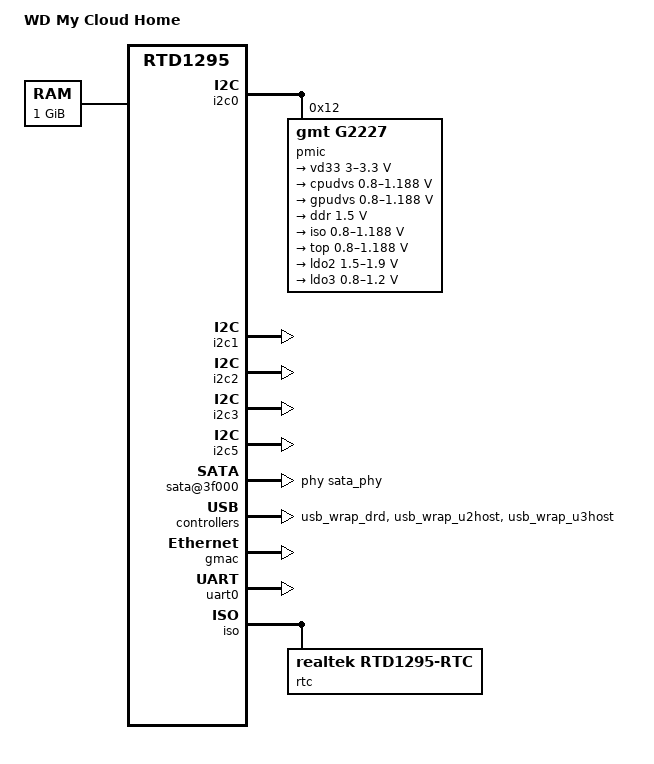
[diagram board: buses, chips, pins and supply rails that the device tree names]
// SPDX-License-Identifier: (GPL-2.0-or-later OR BSD-2-Clause)
/*
 * WD My Cloud Home device tree
 * Based on Realtek RTD1295 SoC
 *
 * Ported from kernel 4.9.330 to 6.18.2
 * Based on third-party Debian device tree from Russian forum
 * Optimized for Debian/Linux (not Android)
 */

/dts-v1/;

#include "rtd1295.dtsi"
#include <dt-bindings/reset/realtek,rtd1295.h>

/ {
	compatible = "wd,mycloud-home", "realtek,rtd1295";
	model = "WD My Cloud Home";

	/*
	 * NOTE: The third-party Debian tree this was derived from reports 1 GiB RAM.
	 * Do NOT assume 2 GiB unless confirmed on the target device.
	 *
	 * Also note: this SoC is ARM64, but the upstream RTD129x DTS uses
	 * #address-cells = <1> / #size-cells = <1> at the root (32-bit cells).
	 * That's fine as long as all addresses are below 4 GiB.
	 */
	memory@0 {
		device_type = "memory";
		reg = <0x0 0x40000000>;
	};

	aliases {
		serial0 = &uart0;
		serial1 = &uart1;
		serial2 = &uart2;
	};

	chosen {
		bootargs = "earlycon=uart8250,mmio32,0x98007800 console=ttyS0,115200 root=/dev/sda9 rootfstype=ext4 rootwait rw init=/bin/sh";
		stdout-path = "serial0:115200n8";
	};

	/* Reserved memory - clean version without vendor rsvmem-remap overlaps */
	reserved-memory {
		#address-cells = <1>;
		#size-cells = <1>;
		ranges;

		linux,cma {
			compatible = "shared-dma-pool";
			reusable;
			size = <0x02000000>;
			linux,cma-default;
		};

		/* ramoops for kernel crash log persistence */
		ramoops@22000000 {
			compatible = "ramoops";
			reg = <0x22000000 0x200000>;
			record-size = <0x4000>;
			console-size = <0x100000>;
			ftrace-size = <0x4000>;
		};
	};

	/* Note: ION memory management is simplified for Debian
	 * Original Debian version kept minimal ION config for compatibility
	 * Full ION nodes will be added if needed
	 */
};

&rbus {
	/*
	 * Vendor RTD129x interrupt mux.
	 *
	 * The vendor I2C binding uses two-cell interrupts (<bank line>) with
	 * interrupt-parent pointing at this mux. The mux itself is chained from
	 * two GIC SPIs (40 and 41) in the extracted DTS.
	 */
	mux_intc: interrupt-controller@1b000 {
		compatible = "Realtek,rtk-irq-mux";
		/* v18: enabled. The earlier "stuck ISO_ISR bit2" was a probe
		 * artifact - the register is a normal W1C event latch (bit0 =
		 * WRITE_DATA convention, see vendor rtk_iso.h), but every probe
		 * command itself generated uart traffic that re-latched the bit.
		 * The real storm cause was printk inside the mux handler feeding
		 * the console uart; the driver is silent now.
		 */
		status = "okay";
		interrupt-controller;
		#interrupt-cells = <2>;

		/* v15: full vendor contract for irq-rtd129x.c - two muxes:
		 * index 0 = MISC @ 0x1b000 (GIC SPI 40), index 1 = ISO @ 0x7000
		 * (GIC SPI 41). intr-status/intr-en are per-mux register offsets;
		 * without them the driver reads uninitialized stack values.
		 */
		Realtek,mux-nr = <2>;
		intr-status = <0x0c 0x00>;
		intr-en = <0x80 0x40>;

		interrupt-parent = <&gic>;
		interrupts = <GIC_SPI 40 IRQ_TYPE_LEVEL_HIGH>,
			     <GIC_SPI 41 IRQ_TYPE_LEVEL_HIGH>;

		/* register windows used by the vendor driver */
		reg = <0x1b000 0x100>, <0x7000 0x100>;
	};

	/*
	 * I2C buses (vendor binding: "realtek,rtk-i2c").
	 */
	i2c0: i2c@7d00 {
		compatible = "realtek,rtk-i2c";
		reg = <0x7d00 0x100>, <0x7000 0x100>;
		interrupt-parent = <&mux_intc>;
		interrupts = <1 8>;
		i2c-num = <0>;
		status = "okay";
		#address-cells = <1>;
		#size-cells = <0>;

		pmic@12 {
			compatible = "gmt,g2227";
			reg = <0x12>;
			status = "okay";

			regulators {
				compatible = "gmt,g2227-regulator";
				status = "okay";

				dc1 { regulator-boot-on; regulator-always-on; regulator-name = "vd33"; regulator-min-microvolt = <3000000>; regulator-max-microvolt = <3300000>; regulator-initial-mode = <1>; };
				dc2 { regulator-boot-on; regulator-always-on; regulator-name = "cpudvs"; regulator-min-microvolt = <800000>; regulator-max-microvolt = <1187500>; regulator-initial-mode = <0>; regulator-state-mem { regulator-off-in-suspend; }; };
				dc3 { regulator-boot-on; regulator-always-on; regulator-name = "gpudvs"; regulator-min-microvolt = <800000>; regulator-max-microvolt = <1187500>; regulator-initial-mode = <0>; regulator-ramp-delay = <625>; regulator-state-mem { regulator-off-in-suspend; }; };
				dc4 { regulator-boot-on; regulator-always-on; regulator-name = "ddr"; regulator-min-microvolt = <1500000>; regulator-max-microvolt = <1500000>; regulator-initial-mode = <0>; regulator-state-coldboot { regulator-off-in-suspend; }; };
				dc5 { regulator-boot-on; regulator-always-on; regulator-name = "iso"; regulator-min-microvolt = <800000>; regulator-max-microvolt = <1187500>; regulator-initial-mode = <0>; };
				dc6 { regulator-boot-on; regulator-always-on; regulator-name = "top"; regulator-min-microvolt = <800000>; regulator-max-microvolt = <1187500>; regulator-initial-mode = <0>; regulator-state-mem { regulator-off-in-suspend; }; };
				ldo2 { regulator-boot-on; regulator-always-on; regulator-name = "ldo2"; regulator-min-microvolt = <1500000>; regulator-max-microvolt = <1900000>; regulator-initial-mode = <0>; regulator-state-mem { regulator-off-in-suspend; }; };
				ldo3 { regulator-boot-on; regulator-always-on; regulator-name = "ldo3"; regulator-min-microvolt = <800000>; regulator-max-microvolt = <1200000>; regulator-initial-mode = <0>; regulator-state-mem { regulator-off-in-suspend; }; };
			};
		};
	};

	i2c1: i2c@7c00 {
		compatible = "realtek,rtk-i2c";
		reg = <0x7c00 0x100>, <0x7000 0x100>;
		interrupt-parent = <&mux_intc>;
		interrupts = <1 11>;
		i2c-num = <1>;
		status = "okay";
		#address-cells = <1>;
		#size-cells = <0>;
	};

	i2c2: i2c@1b700 {
		compatible = "realtek,rtk-i2c";
		reg = <0x1b700 0x100>, <0x1b00c 0x100>;
		interrupt-parent = <&mux_intc>;
		interrupts = <0 26>;
		i2c-num = <2>;
		status = "okay";
		#address-cells = <1>;
		#size-cells = <0>;
	};

	i2c3: i2c@1b900 {
		compatible = "realtek,rtk-i2c";
		reg = <0x1b900 0x100>, <0x1b00c 0x100>;
		interrupt-parent = <&mux_intc>;
		interrupts = <0 23>;
		i2c-num = <3>;
		status = "okay";
		#address-cells = <1>;
		#size-cells = <0>;
	};

	i2c4: i2c@1ba00 {
		compatible = "realtek,rtk-i2c";
		reg = <0x1ba00 0x100>, <0x1b00c 0x100>;
		interrupt-parent = <&mux_intc>;
		interrupts = <0 15>;
		i2c-num = <4>;
		status = "disabled";
		#address-cells = <1>;
		#size-cells = <0>;
	};

	i2c5: i2c@1bb00 {
		compatible = "realtek,rtk-i2c";
		reg = <0x1bb00 0x100>, <0x1b00c 0x100>;
		interrupt-parent = <&mux_intc>;
		interrupts = <0 14>;
		i2c-num = <5>;
		status = "okay";
		#address-cells = <1>;
		#size-cells = <0>;
	};

	/*
	 * SATA PHY + AHCI controller.
	 * PHY driver: drivers/phy/realtek/phy-rtk-sata.c (mainline)
	 * AHCI reg shrunk to 0xf00 to avoid overlap with PHY at 0x3ff00.
	 */
	sata_phy: sata-phy@3ff00 {
		compatible = "Realtek,rtk-sata-phy";
		reg = <0x3ff00 0x100>, <0x1a980 0x10>;
		#address-cells = <1>;
		#size-cells = <0>;
		#phy-cells = <1>;
		status = "okay";

		sata-phy@0 {
			reg = <0>;
			spread-spectrum = <0>;
		};
	};

	sata@3f000 {
		compatible = "generic-ahci";
		reg = <0x3f000 0xf00>;
		interrupts = <GIC_SPI 28 IRQ_TYPE_LEVEL_HIGH>;
		phys = <&sata_phy 0>;
		phy-names = "sata-phy";
		status = "okay";
	};

	/*
	 * GMAC — RTD1295 SoC-internal Gigabit Ethernet.
	 * Uses vendor platform driver r8169soc (compatible "Realtek,r8168").
	 *
	 * Two register ranges, both RBUS-relative:
	 *   0x16000  1K  — MAC registers        (absolute 0x98016000)
	 *   0x7000   1K  — ISO domain registers (absolute 0x98007000)
	 *
	 * The driver uses mmio_clkaddr (range 1) for clock-gate and reset
	 * control of the ETN block.  No RTD1295 clock driver exists in
	 * mainline 6.18, so clocks are declared as optional in r8169soc.c
	 * (hardware clocks remain enabled from the vendor bootloader at
	 * kexec time).
	 *
	 * output-mode = 0 → embedded PHY (RGMII internal).
	 * mac-version  = 0x2a → RTL8168H embedded MAC.
	 */
	/*
	 * v19: USB. RTD1295 has three dwc3 blocks; the WD My Cloud Home's
	 * rear USB-A port is served by the u2host block (vendor-enabled) and
	 * u3host (vendor-disabled but SS-wired). DRD (vendor: adb gadget) is
	 * left out. PHYs are the mainline realtek phy-rtk-usb2/usb3 drivers;
	 * their reg windows live inside the vendor dwc3 wrapper regions.
	 * Resets are the 9 lines the vendor usb-manager deasserts, as shared
	 * arrays so both controllers can list the common ones. clk_en_usb
	 * (CRT 0x0c bit 4) and the VBUS gpio (misc-gpio 19) are poked from
	 * the initramfs - no mainline clk/needed-gpio wiring yet.
	 */
	usb2phy_u2: usb-phy@13c14 {
		compatible = "realtek,rtd1295-usb2phy";
		reg = <0x13c14 0x4>, <0x31280 0x4>;
		#phy-cells = <0>;
	};

	usb2phy_u3: usb-phy@13e14 {
		compatible = "realtek,rtd1295-usb2phy";
		reg = <0x13e14 0x4>, <0x1f8280 0x4>;
		#phy-cells = <0>;
	};

	usb3phy_u3: usb-phy@13e10 {
		compatible = "realtek,rtd1295-usb3phy";
		reg = <0x13e10 0x4>;
		#phy-cells = <0>;
	};

	/* v42: on-die thermal sensor (scpu_wrapper block) */
	soc_thermal: thermal-sensor@1d150 {
		compatible = "realtek,rtd129x-thermal-sensor";
		reg = <0x1d150 0x20>;
		#thermal-sensor-cells = <0>;
	};

	usb2phy_drd: usb-phy@13214 {
		compatible = "realtek,rtd1295-usb2phy";
		reg = <0x13214 0x4>, <0x28280 0x4>;
		#phy-cells = <0>;
	};

	usb3phy_drd: usb-phy@13210 {
		compatible = "realtek,rtd1295-usb3phy";
		reg = <0x13210 0x4>;
		#phy-cells = <0>;
	};

	usb_wrap_drd: usb@13200 {
		/* v21: the DRD block drives the physical USB-A port on this box
		 * (vendor ran it as an adb gadget and role-switched in software;
		 * u3host is unwired). Run it as a plain host.
		 */
		compatible = "realtek,rtd1295-dwc3", "realtek,rtd-dwc3";
		reg = <0x13200 0x200>;
		#address-cells = <1>;
		#size-cells = <1>;
		ranges;

		usb_drd: usb@20000 {
			compatible = "snps,dwc3";
			reg = <0x20000 0x9000>;
			interrupts = <GIC_SPI 21 IRQ_TYPE_LEVEL_HIGH>;
			phys = <&usb2phy_drd>, <&usb3phy_drd>;
			phy-names = "usb2-phy", "usb3-phy";
			dr_mode = "host";
			snps,dis_u2_susphy_quirk;
			snps,dis_ss_park_mode;
			resets = <&reset1 RTD1295_RSTN_USB>,
				 <&reset1 RTD1295_RSTN_USB_PHY0>,
				 <&reset1 RTD1295_RSTN_USB3_PHY0_POW>,
				 <&reset1 RTD1295_RSTN_USB3_P0_MDIO>;
		};
	};

	usb_wrap_u2host: usb@13c00 {
		/* v20: mainline dwc3-rtk glue wrapper. The parent compatible
		 * "realtek,rtd-dwc3" also makes dwc3 core use the RTD globals
		 * offset 0x8100 instead of 0xc100 (the v39 -EBUSY failure).
		 */
		compatible = "realtek,rtd1295-dwc3", "realtek,rtd-dwc3";
		reg = <0x13c00 0x200>;
		#address-cells = <1>;
		#size-cells = <1>;
		ranges;

		usb_u2host: usb@29000 {
			compatible = "snps,dwc3";
			reg = <0x29000 0x9000>;
			interrupts = <GIC_SPI 21 IRQ_TYPE_LEVEL_HIGH>;
			phys = <&usb2phy_u2>;
			phy-names = "usb2-phy";
			dr_mode = "host";
			snps,dis_u2_susphy_quirk;
			resets = <&reset1 RTD1295_RSTN_USB>,
				 <&reset1 RTD1295_RSTN_USB_PHY0>,
				 <&reset1 RTD1295_RSTN_USB_PHY1>,
				 <&reset2 RTD1295_RSTN_USB_PHY2>,
				 <&reset2 RTD1295_RSTN_USB_PHY3>;
		};
	};

	usb_wrap_u3host: usb@13e00 {
		compatible = "realtek,rtd1295-dwc3", "realtek,rtd-dwc3";
		reg = <0x13e00 0x200>;
		#address-cells = <1>;
		#size-cells = <1>;
		ranges;

		usb_u3host: usb@1f0000 {
			compatible = "snps,dwc3";
			reg = <0x1f0000 0x9000>;
			interrupts = <GIC_SPI 21 IRQ_TYPE_LEVEL_HIGH>;
			phys = <&usb2phy_u3>, <&usb3phy_u3>;
			phy-names = "usb2-phy", "usb3-phy";
			dr_mode = "host";
			snps,dis_u2_susphy_quirk;
			snps,dis_ss_park_mode;
			resets = <&reset1 RTD1295_RSTN_USB>,
				 <&reset1 RTD1295_RSTN_USB3_PHY0_POW>,
				 <&reset1 RTD1295_RSTN_USB3_P0_MDIO>,
				 <&reset2 4>,
				 <&reset2 RTD1295_RSTN_USB3_P1_MDIO>;
		};
	};

	gmac: ethernet@16000 {
		compatible = "Realtek,r8168";
		reg = <0x16000 0x1000>, <0x7000 0x1000>;
		interrupt-parent = <&gic>;
		interrupts = <GIC_SPI 22 IRQ_TYPE_LEVEL_HIGH>;
		resets = <&iso_reset RTD1295_ISO_RSTN_GMAC>,
			 <&iso_reset RTD1295_ISO_RSTN_GPHY>;
		reset-names = "gmac", "gphy";
		output-mode = <0>;
		mac-version = <0x2a>;
		ext-phy-id = <1>;
		led-cfg = <0x804f>;
		rtl-config = <1>;
		rtl-features = <2>;
		eee = <1>;
		rgmii-voltage = <1>;
		rgmii-tx-delay = <0>;
		rgmii-rx-delay = <0>;
		status = "okay";
	};
};

&uart0 {
	/* v18: IRQ via ISO mux (index 1, status bit 2). interrupts-st-mask
	 * matches the vendor DT; mainline 8250 ignores it (the mux driver
	 * acks the latch instead).
	 */
	interrupt-parent = <&mux_intc>;
	interrupts = <1 2>;
	interrupts-st-mask = <0x4>;
	status = "okay";
};

&uart1 {
	status = "disabled";
};

&uart2 {
	status = "disabled";
};

/* v17: spin-table restored. smp_spin_table.c now detects a non-memory
 * release address and uses the vendor access pattern (plain ioremap +
 * 32-bit writel + sev) instead of ioremap_cache + writeq + dcache
 * maintenance, which hard-hung the interconnect (the v23 failure).
 */
&cpu0 {
	enable-method = "spin-table";
	cpu-release-addr = <0x0 0x9801aa44>;
};

&cpu1 {
	enable-method = "spin-table";
	cpu-release-addr = <0x0 0x9801aa44>;
};

&cpu2 {
	enable-method = "spin-table";
	cpu-release-addr = <0x0 0x9801aa44>;
};

&cpu3 {
	enable-method = "spin-table";
	cpu-release-addr = <0x0 0x9801aa44>;
};


/*
 * Vendor 4.9 uses a Realtek-specific "rtk-spin-table" CPU bring-up path.
 * Mainline arm64 doesn't know that cpu_ops name, but it does support the
 * generic spin-table protocol, which uses the same release address polling
 * model for secondaries.
 */




/* TODO: Port I2C controllers from extracted.dts
 * - i2c@0x98007D00 (I2C0) with PMIC g2227@12
 * - i2c@0x98007C00 (I2C1)
 * - i2c@0x9801B700 (I2C2)
 * - i2c@0x9801B900 (I2C3)
 * - i2c@0x9801BA00 (I2C4)
 * - i2c@0x9801BB00 (I2C5)
 */

/* TODO: Port USB controllers
 * - dwc3_drd_usb2phy
 * - dwc3_drd_usb3phy
 * - rtk_dwc3_drd
 * - rtk_dwc3_u2host
 */

/* TODO: Port SATA controller
 * - sata_phy@9803FF60
 * - sata@9803F000
 */

/*
 * The GMAC node goes inside &rbus (both reg ranges are RBUS-relative).
 * See note below the &rbus block for details.
 */

/* TODO: Port GPIO and pinctrl
 * - pinctrl@9801A000
 * - rtk_iso_gpio@98007100
 * - rtk_misc_gpio@9801b100
 */

/* TODO: Port power management
 * - power-management@0
 * - cpu-dvfs
 */

/* TODO: Port thermal zones
 * - thermal-zones
 */

/ {
	thermal-zones {
		soc-thermal {
			polling-delay-passive = <0>;
			polling-delay = <10000>;
			thermal-sensors = <&soc_thermal>;

			trips {
				soc-crit {
					temperature = <105000>;
					hysteresis = <2000>;
					type = "critical";
				};
			};
		};
	};
};

&iso {
	rtc@600 {
		compatible = "realtek,rtd1295-rtc";
		reg = <0x600 0x34>;
		clocks = <&osc27M>;
		status = "okay";
	};
};
